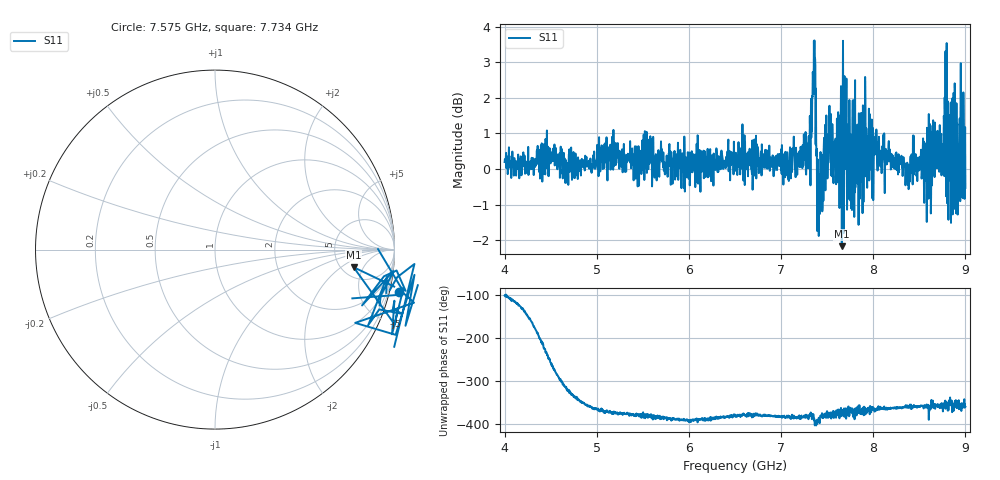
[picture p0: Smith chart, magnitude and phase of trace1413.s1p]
! Created with skrf 1.8.0 (http://scikit-rf.org).
# Hz S RI R 50.0
!freq ReS11 ImS11
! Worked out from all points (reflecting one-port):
!   1601 points, 4 GHz to 9 GHz, reference 50 ohm
!   lowest |S11| = -2.2 dB at 7.659 GHz (marker M1), VSWR 8.04, Z = 320 - j160 ohm
!   phase of S11 starts at -101 deg and turns -260 deg over the sweep
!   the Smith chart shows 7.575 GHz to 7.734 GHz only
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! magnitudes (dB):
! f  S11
! 4 GHz  0.2
! 4.625 GHz  -0.1
! 5.25 GHz  0.4
! 5.875 GHz  -0.2
! 6.5 GHz  0.1
! 7.125 GHz  0.5
! 7.294 GHz  0.0
! 7.316 GHz  0.7
! 7.347 GHz  2.6
! 7.362 GHz  3.6
! 7.409 GHz  -1.9
! 7.434 GHz  -1.0
! 7.503 GHz  -0.3
! 7.588 GHz  0.4
! 7.647 GHz  1.2
! 7.659 GHz  -2.2
! 7.688 GHz  2.6
! 7.75 GHz  0.8
! 7.881 GHz  0.4
! 7.928 GHz  0.6
! 8.375 GHz  0.1
! 8.441 GHz  -0.2
! 8.575 GHz  0.7
! 8.784 GHz  3.3
! 8.856 GHz  0.4
! 8.919 GHz  -0.5
! 8.959 GHz  2.0
! 9 GHz  -0.5
